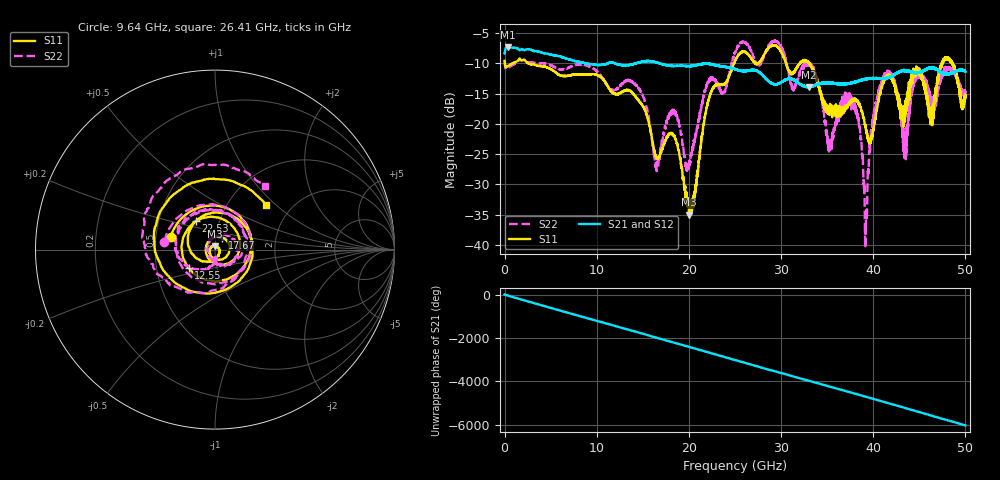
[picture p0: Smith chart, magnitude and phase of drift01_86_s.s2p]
!Created with skrf (http://scikit-rf.org).
# Hz S RI R 50.0
!freq ReS11 ImS11 ReS21 ImS21 ReS12 ImS12 ReS22 ImS22
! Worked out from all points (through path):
!   10001 points, 300 kHz to 50 GHz, reference 50 ohm
!   highest |S21| = -7.33 dB at 325.3 MHz (marker M1); lowest = -14.0 dB at 33.05 GHz (marker M2)
!   group delay of S21, straight-line fit = 335 ps
!   lowest |S11| = -35.0 dB at 20.01 GHz (marker M3), VSWR 1.04, Z = 49.9 + j1.77 ohm
!   |S11| at or under -10 dB: 2.552 GHz to 24.9 GHz (22.35 GHz wide, 163 % of centre); 30.53 GHz to 32.03 GHz (1.501 GHz wide, 4.8 % of centre); 33.08 GHz to 47.44 GHz (14.37 GHz wide, 35.7 % of centre) (the widest 3 of 25)
!   |S22| runs from -40.2 to -6.2 dB; largest |S21 - S12| = 0.01
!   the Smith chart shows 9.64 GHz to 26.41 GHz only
!   S11 on the Smith chart (normalised r, x): 9.64 GHz: 0.60, +0.09; 12.55 GHz: 0.73, -0.15; 17.67 GHz: 1.07, +0.15; 22.53 GHz: 0.77, +0.26; 26.41 GHz: 1.49, +0.86
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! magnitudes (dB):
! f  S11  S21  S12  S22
! 300 kHz  -9.6  -8.4  -8.5  -9.5
! 325.3 MHz  -10.5  -7.3  -7.3  -10.9
! 8.335 GHz  -11.8  -9.9  -9.8  -10.2
! 9.64 GHz  -11.8  -10.2  -10.2  -10.9
! 12.55 GHz  -14.9  -10.3  -10.3  -13.6
! 16.67 GHz  -25.8  -10.0  -9.9  -27.0
! 17.67 GHz  -22.1  -10.4  -10.4  -19.5
! 20.01 GHz  -35.0  -10.5  -10.5  -26.9
! 22.53 GHz  -14.4  -10.2  -10.2  -12.2
! 25 GHz  -9.6  -11.0  -11.0  -8.3
! 26.41 GHz  -8.5  -11.2  -11.2  -6.9
! 33.05 GHz  -10.1  -14.0  -13.9  -10.1
! 33.34 GHz  -10.7  -13.8  -13.8  -10.6
! 35.27 GHz  -18.4  -13.2  -13.2  -23.3
! 37.98 GHz  -16.0  -13.1  -13.1  -17.0
! 39.17 GHz  -20.4  -12.6  -12.6  -39.0
! 40.12 GHz  -20.1  -12.5  -12.4  -17.7
! 41.67 GHz  -11.9  -12.3  -12.3  -11.9
! 43.45 GHz  -17.5  -11.2  -11.2  -22.8
! 44.88 GHz  -11.0  -11.5  -11.6  -12.2
! 46.28 GHz  -19.3  -10.7  -10.7  -16.4
! 50 GHz  -15.5  -11.4  -11.4  -15.1
